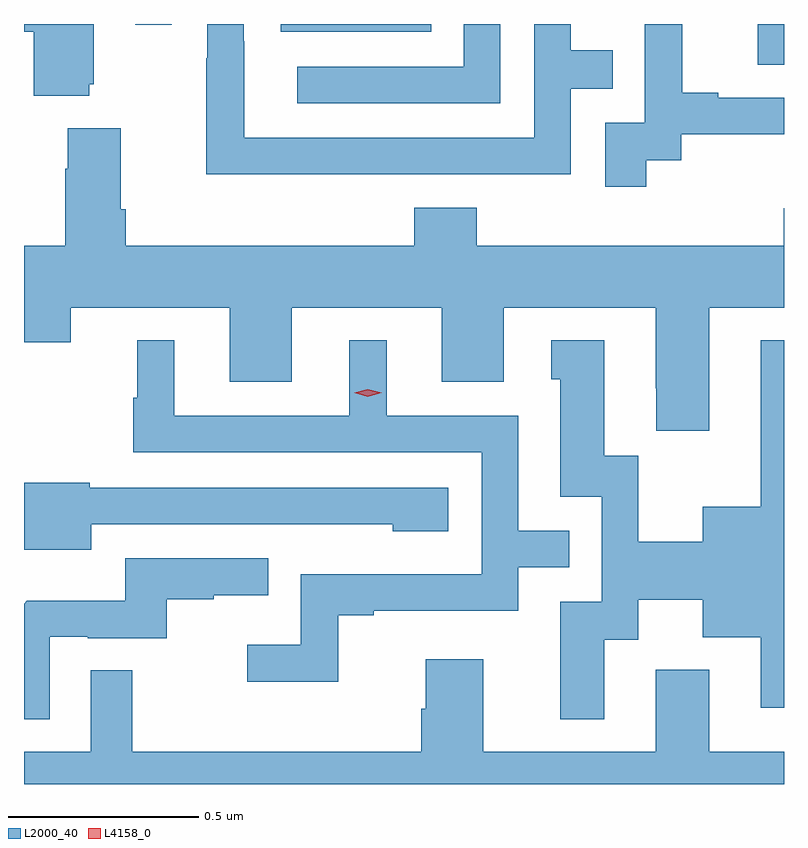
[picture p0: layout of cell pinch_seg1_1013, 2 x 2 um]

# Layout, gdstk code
import gdstk
lib = gdstk.Library(unit=1e-6, precision=1e-09)
def R(c, l, rs):  # rectangles x0, y0, x1, y1
    for r in rs: c.add(gdstk.rectangle(r[:2], r[2:], *l))
def P(c, l, *ps):  # polygons
    for p in ps: c.add(gdstk.Polygon(p, *l))
L2000_40 = (2000, 40)
L4158_0 = (4158, 0)

pinch_seg1_1013 = lib.new_cell('pinch_seg1_1013')
R(pinch_seg1_1013, L2000_40, [(287.367,576.348,287.436,576.455), (286.112,576.434,286.508,576.455), (285.729,576.453,285.825,576.455)])
P(pinch_seg1_1013, L2000_40, [(286.689,576.455),(286.593,576.455),(286.593,576.342),(286.155,576.342),(286.155,576.246),(286.689,576.246)],
  [(285.608,576.297),(285.619,576.297),(285.619,576.455),(285.436,576.455),(285.436,576.434),(285.461,576.434),(285.461,576.266),(285.608,576.266)],
  [(286.379,576.06),(286.875,576.06),(286.875,576.285),(286.985,576.285),(286.985,576.386),(286.875,576.386),(286.875,576.455),(286.779,576.455),(286.779,576.156),(286.015,576.156),(286.015,576.41),(286.014,576.41),(286.014,576.455),(285.918,576.455),(285.918,576.365),(285.916,576.365),(285.916,576.059),(286.379,576.059)],
  [(287.074,576.097),(287.166,576.097),(287.166,576.165),(287.436,576.165),(287.436,576.261),(287.263,576.261),(287.263,576.274),(287.168,576.274),(287.168,576.455),(287.069,576.455),(287.069,576.425),(287.07,576.425),(287.07,576.195),(286.965,576.195),(286.965,576.027),(287.074,576.027)],
  [(287.239,575.708),(287.436,575.708),(287.436,575.97),(287.435,575.97),(287.435,575.872),(286.628,575.872),(286.628,575.971),(286.463,575.971),(286.463,575.872),(285.704,575.872),(285.704,575.968),(285.691,575.968),(285.691,576.181),(285.551,576.181),(285.551,576.074),(285.544,576.074),(285.544,575.872),(285.436,575.872),(285.436,575.618),(285.559,575.618),(285.559,575.708),(285.977,575.708),(285.977,575.514),(286.141,575.514),(286.141,575.708),(286.535,575.708),(286.535,575.514),(286.699,575.514),(286.699,575.708),(287.099,575.708),(287.099,575.497),(287.1,575.497),(287.1,575.385),(287.239,575.385)],
  [(286.963,574.834),(287.053,574.834),(287.053,574.94),(287.222,574.94),(287.222,574.841),(287.375,574.841),(287.375,574.656),(287.436,574.656),(287.436,575.623),(287.375,575.623),(287.375,575.185),(287.222,575.185),(287.222,575.092),(287.052,575.092),(287.052,575.319),(286.963,575.319),(286.963,575.623),(286.823,575.623),(286.823,575.52),(286.847,575.52),(286.847,575.211),(286.956,575.211),(286.956,574.935),(286.847,574.935),(286.847,574.626),(286.963,574.626)],
  [(286.263,574.899),(286.357,574.899),(286.357,574.911),(286.737,574.911),(286.737,575.025),(286.871,575.025),(286.871,575.121),(286.737,575.121),(286.737,575.424),(286.39,575.424),(286.39,575.623),(286.292,575.623),(286.292,575.424),(285.832,575.424),(285.832,575.623),(285.734,575.623),(285.734,575.472),(285.723,575.472),(285.723,575.328),(286.641,575.328),(286.641,575.007),(286.164,575.007),(286.164,574.822),(286.023,574.822),(286.023,574.724),(286.263,574.724)],
  [(285.613,575.139),(286.171,575.139),(286.171,575.138),(286.407,575.138),(286.407,575.12),(286.552,575.12),(286.552,575.235),(285.609,575.235),(285.609,575.248),(285.436,575.248),(285.436,575.072),(285.613,575.072)],
  [(285.504,574.842),(285.604,574.842),(285.604,574.839),(285.812,574.839),(285.812,574.941),(285.935,574.941),(285.935,574.952),(286.079,574.952),(286.079,575.049),(285.702,575.049),(285.702,574.937),(285.443,574.937),(285.436,574.93),(285.436,574.625),(285.504,574.625)],
  [(287.436,574.54),(287.239,574.54),(287.239,574.756),(287.099,574.756),(287.099,574.54),(286.645,574.54),(286.645,574.783),(286.493,574.783),(286.493,574.653),(286.481,574.653),(286.481,574.54),(285.721,574.54),(285.721,574.754),(285.612,574.754),(285.612,574.54),(285.436,574.54),(285.436,574.455),(287.436,574.455)])
P(pinch_seg1_1013, L4158_0, [(286.341,575.474),(286.305,575.484),(286.305,575.484),(286.305,575.484),(286.341,575.494),(286.377,575.484),(286.377,575.484),(286.377,575.484)])

lib.write_gds('pinch_seg1_1013.gds')
